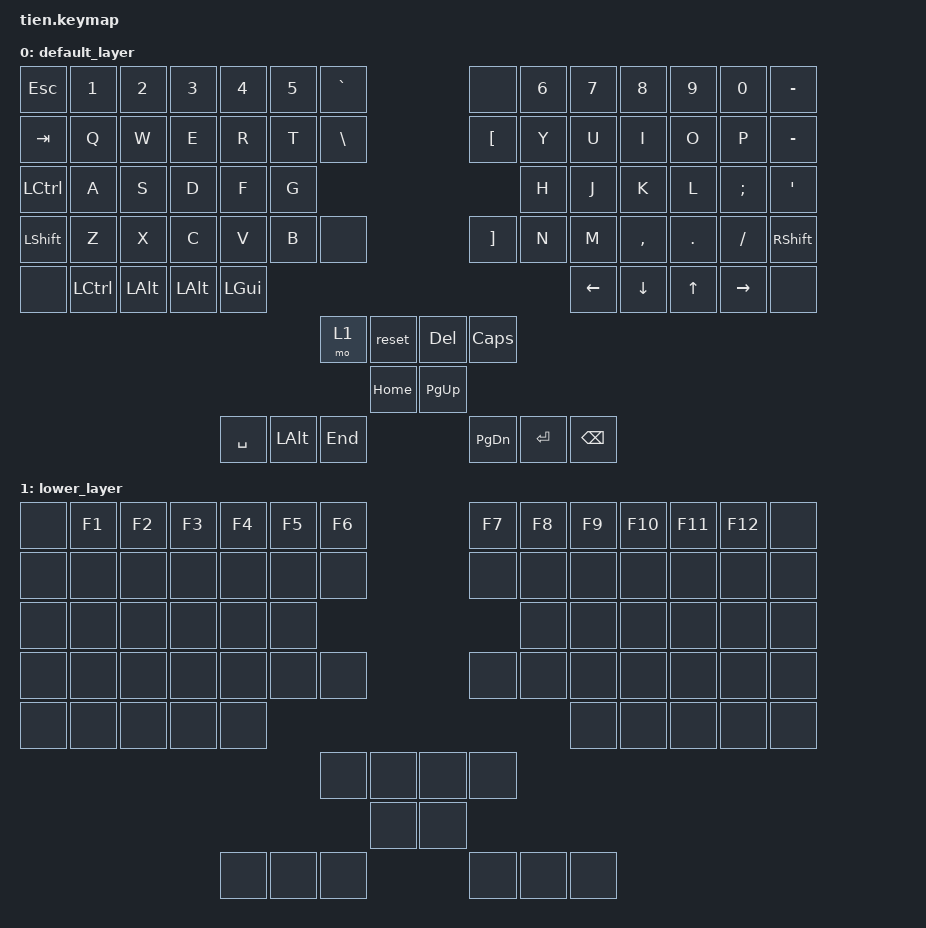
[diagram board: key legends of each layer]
/*
 * Copyright (c) 2021 The ZMK Contributors
 *
 * SPDX-License-Identifier: MIT
 */

#include <behaviors.dtsi>
#include <dt-bindings/zmk/keys.h>
#include <dt-bindings/zmk/bt.h>
#include <dt-bindings/zmk/ext_power.h>
#include <dt-bindings/zmk/outputs.h>

/ {
    keymap {
        compatible =  "zmk,keymap" ;

        default_layer {
            bindings = <
    &kp ESC   &kp N1   &kp N2   &kp N3 &kp N4   &kp N5 &kp GRAVE                    &none     &kp N6    &kp N7   &kp N8    &kp N9   &kp N0   &kp MINUS
    &kp TAB   &kp Q    &kp W    &kp E  &kp R    &kp T  &kp BSLH                     &kp LBKT  &kp Y     &kp U    &kp I     &kp O    &kp P    &kp MINUS
    &kp LCTRL &kp A    &kp S    &kp D  &kp F    &kp G                                         &kp H     &kp J    &kp K     &kp L    &kp SEMI &kp SQT
    &kp LSHFT &kp Z    &kp X    &kp C  &kp V    &kp B  &none                        &kp RBKT  &kp N     &kp M    &kp COMMA &kp DOT  &kp FSLH &kp RSHFT
    &none     &kp LCTRL &kp LALT &kp LALT &kp LGUI                                                      &kp LEFT &kp DOWN  &kp UP   &kp RIGHT &none
                                                    &mo 1       &reset      &kp DEL     &kp CAPS
													            &kp HOME    &kp PG_UP
										&kp SPACE   &kp LALT    &kp END     &kp PG_DN   &kp ENTER   &kp BSPC
            >;
        };
        
        lower_layer {
            bindings = <
    &none    &kp F1  &kp F2  &kp F3  &kp F4  &kp F5  &kp F6                         &kp F7  &kp F8  &kp F9  &kp F10 &kp F11 &kp F12 &none
    &none    &none   &none   &none   &none   &none   &none                          &none   &none   &none   &none   &none   &none   &none
    &none    &none   &none   &none   &none   &none                                          &none   &none   &none   &none   &none   &none
    &none    &none   &none   &none   &none   &none   &none                          &none   &none   &none   &none   &none   &none   &none
    &none    &none   &none   &none   &none                                                          &none   &none   &none   &none   &none
                                                    &none       &none   &none       &none
													            &none   &none
										    &none   &none       &none   &none       &none   &none
            >;
        };

        
    };
};
